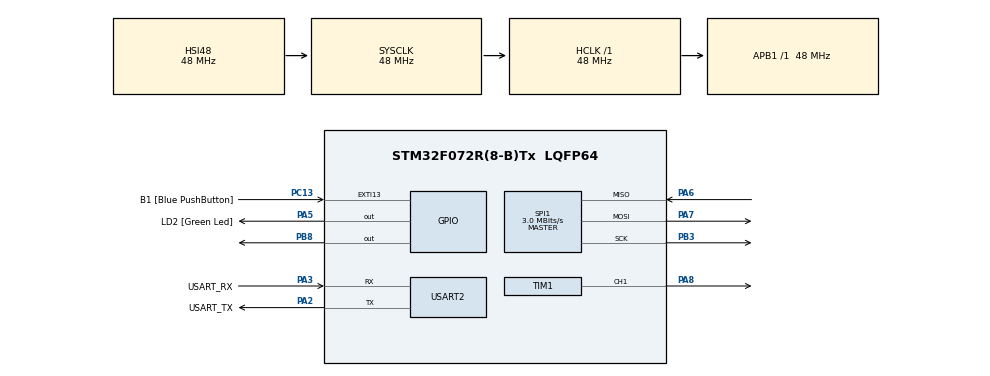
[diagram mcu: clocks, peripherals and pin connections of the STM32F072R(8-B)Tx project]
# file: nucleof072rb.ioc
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Mcu.Family=STM32F0
Mcu.Name=STM32F072R(8-B)Tx
Mcu.Package=LQFP64
PA13.GPIO_Label=TMS
PA13.Mode=Serial_Wire
PA13.Signal=SYS_SWDIO
PA14.GPIO_Label=TCK
PA14.Mode=Serial_Wire
PA14.Signal=SYS_SWCLK
PA2.GPIO_Label=USART_TX
PA2.GPIO_Mode=GPIO_MODE_AF_PP
PA2.GPIO_PuPd=GPIO_NOPULL
PA2.GPIO_Speed=GPIO_SPEED_FREQ_LOW
PA2.Mode=Asynchronous
PA2.Signal=USART2_TX
PA3.GPIO_Label=USART_RX
PA3.GPIO_Mode=GPIO_MODE_AF_PP
PA3.GPIO_PuPd=GPIO_NOPULL
PA3.GPIO_Speed=GPIO_SPEED_FREQ_LOW
PA3.Mode=Asynchronous
PA3.Signal=USART2_RX
PA5.GPIO_Label=LD2 [Green Led]
PA5.GPIO_Mode=GPIO_MODE_OUTPUT_PP
PA5.GPIO_PuPd=GPIO_NOPULL
PA5.GPIO_Speed=GPIO_SPEED_FREQ_LOW
PA5.Signal=GPIO_Output
PA6.Mode=Full_Duplex_Master
PA6.Signal=SPI1_MISO
PA7.Mode=Full_Duplex_Master
PA7.Signal=SPI1_MOSI
PA8.Signal=S_TIM1_CH1
PB3.Mode=Full_Duplex_Master
PB3.Signal=SPI1_SCK
PB8.Signal=GPIO_Output
PC13.GPIO_Label=B1 [Blue PushButton]
PC13.GPIO_ModeDefaultEXTI=GPIO_MODE_IT_FALLING
PC13.Signal=GPXTI13
PC14-OSC32_IN.Mode=LSE-External-Oscillator
PC14-OSC32_IN.Signal=RCC_OSC32_IN
PC15-OSC32_OUT.Mode=LSE-External-Oscillator
PC15-OSC32_OUT.Signal=RCC_OSC32_OUT
PF0-OSC_IN.Mode=HSE-External-Clock-Source
PF0-OSC_IN.Signal=RCC_OSC_IN
PF1-OSC_OUT.Signal=RCC_OSC_OUT
ProjectManager.HeapSize=0x200
ProjectManager.StackSize=0x400
ProjectManager.TargetToolchain=STM32CubeIDE
RCC.AHBFreq_Value=48000000
RCC.APB1Freq_Value=48000000
RCC.APB1TimFreq_Value=48000000
RCC.FLatency-AdvancedSettings=FLASH_LATENCY_1
RCC.HCLKFreq_Value=48000000
RCC.PLLDivider=RCC_PREDIV_DIV2
RCC.PLLMUL=RCC_PLL_MUL12
RCC.PREFETCH_ENABLE-AdvancedSettings=1
RCC.SYSCLKFreq_VALUE=48000000
RCC.SYSCLKSource=RCC_SYSCLKSOURCE_HSI48
SH.S_TIM1_CH1.0=TIM1_CH1,PWM Generation1 CH1
SPI1.BaudRatePrescaler=SPI_BAUDRATEPRESCALER_16
SPI1.CalculateBaudRate=3.0 MBits/s
SPI1.DataSize=SPI_DATASIZE_8BIT
SPI1.Direction=SPI_DIRECTION_2LINES
SPI1.Mode=SPI_MODE_MASTER
SPI1.VirtualType=VM_MASTER
TIM1.Channel-PWM\ Generation1\ CH1=TIM_CHANNEL_1
TIM1.Period=64000
TIM1.Prescaler=14
USART2.VirtualMode=VM_ASYNC
USART2.VirtualMode-Asynchronous=VM_ASYNC
VP_TIM1_VS_ClockSourceINT.Mode=Internal
board=NUCLEO-F072RB

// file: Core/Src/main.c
/* USER CODE BEGIN Header */
/**
  ******************************************************************************
  * @file           : main.c
  * @brief          : Main program body
  ******************************************************************************
  * @attention
  *
  * <h2><center>&copy; Copyright (c) 2021 STMicroelectronics.
  * All rights reserved.</center></h2>
  *
  * This software component is licensed by ST under BSD 3-Clause license,
  * the "License"; You may not use this file except in compliance with the
  * License. You may obtain a copy of the License at:
  *                        opensource.org/licenses/BSD-3-Clause
  *
  ******************************************************************************
  */
/* USER CODE END Header */
#include "main.h"
#include "spi.h"
#include "tim.h"
#include "usart.h"
#include "gpio.h"

void SystemClock_Config(void);

int main(void)
{

  /* MCU Configuration--------------------------------------------------------*/

  /* Reset of all peripherals, Initializes the Flash interface and the Systick. */
  HAL_Init();

  /* Configure the system clock */
  SystemClock_Config();

  /* Initialize all configured peripherals */
  MX_GPIO_Init();
  MX_USART2_UART_Init();
  MX_SPI1_Init();
  MX_TIM1_Init();

  /* Infinite loop */
  /* USER CODE BEGIN WHILE */
	  uint8_t tx[3];
	  uint8_t rx[3];
	  uint16_t adc_value;
	  uint16_t pwm;
  while (1)
  {
    /* USER CODE END WHILE */

    /* USER CODE BEGIN 3 */
	  // Build SPI command
	  tx[0] = 0x01; //start bit
	  tx[1] = 0x80;   // Channel 0, single-ended (1 on the 8th bit) 0x1000 0000
	  tx[2] = 0x00;

	  // set CS low to talk
	  HAL_GPIO_WritePin(GPIOB, GPIO_PIN_8, GPIO_PIN_RESET);

	  // SPI
	  HAL_SPI_TransmitReceive(&hspi1, tx, rx, 3, HAL_MAX_DELAY);

	  // set CS high to stop talking
	  HAL_GPIO_WritePin(GPIOB, GPIO_PIN_8, GPIO_PIN_SET);

	  // decode the 10-bit ADC value from rx (for 16 bit value, rx[2]
	  //  has values for first 8 bits, and first 2 bits of rx[1], shifted
	  //   to positions of bit 9 and 10)
	  adc_value = ((rx[1] & 0x03) << 8) | rx[2];

	  // Map ADC to PWM range (1–2 ms)
	  // maximum number from 10 bits = 1023, so the ADC value will range from 0 to 1023.
	  // This ADC value must be converted into a number of timer counts that produces
	  // a PWM on-time between 1 ms and 2 ms, which corresponds to a 5–10% duty cycle
	  // for a 20 ms period (50 Hz PWM).

	  // the ADC value is linearly mapped to the 5-10% pwm cycle range.
	  // get the period of the timer
	  uint32_t periodCounts = htim1.Init.Period;
	  // min and max pwm (5-10% duty cycle, 50HZ is 20ms period, .05 = 1/20, .1 = 1/10)
	  uint32_t pwmMin = periodCounts / 20;
	  uint32_t pwmMax = periodCounts / 10;
	  uint32_t pwmRange = pwmMax - pwmMin;

	  // map the adc value to the pwm range (pwm is min to max range, and adc range is 1023 (10 bit))
	  pwm = pwmMin + ((adc_value * pwmRange) / 1023);

	  // set PWM duty cycle to counter value (using the compare function to set CCR to pwm,
	  //  which sets that pwm number of counts to high, and the rest to low for that period)
	  __HAL_TIM_SET_COMPARE(&htim1, TIM_CHANNEL_1, pwm);

	  HAL_Delay(10);
  }
  /* USER CODE END 3 */
}

void SystemClock_Config(void)
{
  RCC_OscInitTypeDef RCC_OscInitStruct = {0};
  RCC_ClkInitTypeDef RCC_ClkInitStruct = {0};
  RCC_PeriphCLKInitTypeDef PeriphClkInit = {0};

  /** Initializes the RCC Oscillators according to the specified parameters
  * in the RCC_OscInitTypeDef structure.
  */
  RCC_OscInitStruct.OscillatorType = RCC_OSCILLATORTYPE_HSI48;
  RCC_OscInitStruct.HSI48State = RCC_HSI48_ON;
  RCC_OscInitStruct.PLL.PLLState = RCC_PLL_NONE;
  if (HAL_RCC_OscConfig(&RCC_OscInitStruct) != HAL_OK)
  {
    Error_Handler();
  }
  /** Initializes the CPU, AHB and APB buses clocks
  */
  RCC_ClkInitStruct.ClockType = RCC_CLOCKTYPE_HCLK|RCC_CLOCKTYPE_SYSCLK
                              |RCC_CLOCKTYPE_PCLK1;
  RCC_ClkInitStruct.SYSCLKSource = RCC_SYSCLKSOURCE_HSI48;
  RCC_ClkInitStruct.AHBCLKDivider = RCC_SYSCLK_DIV1;
  RCC_ClkInitStruct.APB1CLKDivider = RCC_HCLK_DIV1;

  if (HAL_RCC_ClockConfig(&RCC_ClkInitStruct, FLASH_LATENCY_1) != HAL_OK)
  {
    Error_Handler();
  }
  PeriphClkInit.PeriphClockSelection = RCC_PERIPHCLK_USART2;
  PeriphClkInit.Usart2ClockSelection = RCC_USART2CLKSOURCE_PCLK1;
  if (HAL_RCCEx_PeriphCLKConfig(&PeriphClkInit) != HAL_OK)
  {
    Error_Handler();
  }
}

void Error_Handler(void)
{
  __disable_irq();
  while (1)
  {
  }
}

/************************ (C) COPYRIGHT STMicroelectronics *****END OF FILE****/
